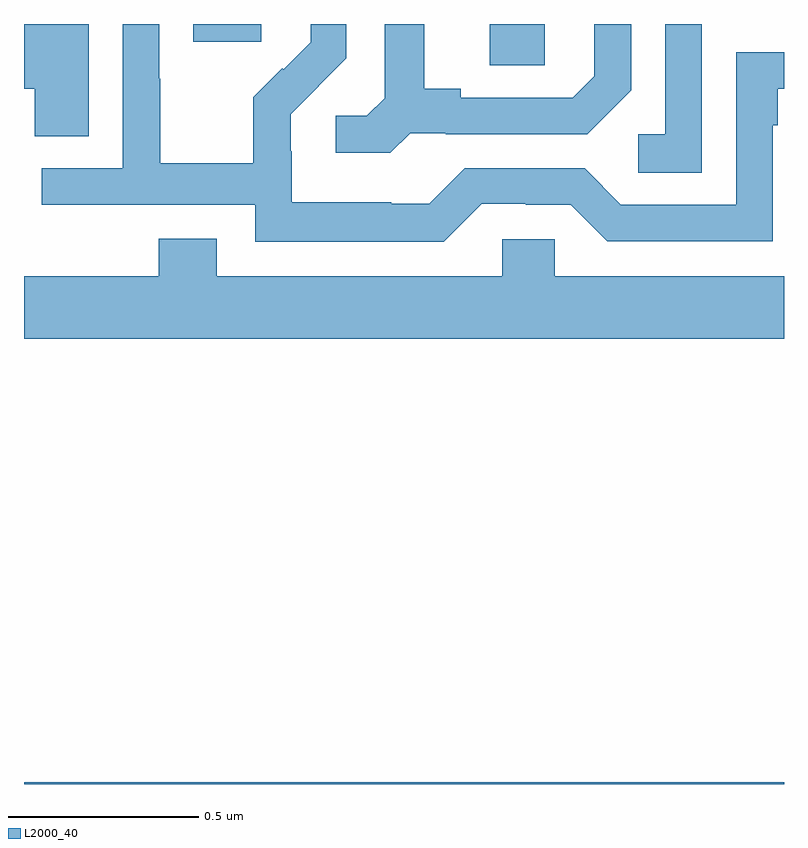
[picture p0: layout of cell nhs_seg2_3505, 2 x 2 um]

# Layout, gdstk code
import gdstk
lib = gdstk.Library(unit=1e-6, precision=1e-09)
def R(c, l, rs):  # rectangles x0, y0, x1, y1
    for r in rs: c.add(gdstk.rectangle(r[:2], r[2:], *l))
def P(c, l, *ps):  # polygons
    for p in ps: c.add(gdstk.Polygon(p, *l))
L2000_40 = (2000, 40)

nhs_seg2_3505 = lib.new_cell('nhs_seg2_3505')
R(nhs_seg2_3505, L2000_40, [(154,643.8,156,643.804), (155.225,645.691,155.37,645.8), (154.445,645.753,154.624,645.8)])
P(nhs_seg2_3505, L2000_40, [(154.171,645.8),(154,645.8),(154,645.629),(154.028,645.629),(154.028,645.505),(154.171,645.505)],
  [(155.205,645.327),(155.321,645.327),(155.321,645.324),(155.439,645.324),(155.535,645.228),(155.97,645.228),(155.97,645.533),(155.983,645.533),(155.983,645.63),(156,645.63),(156,645.726),(155.874,645.726),(155.874,645.324),(155.571,645.324),(155.475,645.42),(155.16,645.42),(155.067,645.327),(154.967,645.327),(154.967,645.331),(154.704,645.331),(154.704,645.465),(154.702,645.465),(154.702,645.562),(154.776,645.636),(154.775,645.637),(154.848,645.71),(154.848,645.8),(154.754,645.8),(154.754,645.752),(154.683,645.681),(154.68,645.684),(154.603,645.607),(154.603,645.433),(154.359,645.433),(154.359,645.656),(154.356,645.656),(154.356,645.8),(154.26,645.8),(154.26,645.42),(154.047,645.42),(154.047,645.324),(154.608,645.324),(154.608,645.227),(155.105,645.227)],
  [(155.784,645.8),(155.688,645.8),(155.688,645.51),(155.616,645.51),(155.616,645.409),(155.784,645.409)],
  [(155.016,645.513),(155.11,645.513),(155.11,645.51),(155.482,645.51),(155.598,645.626),(155.598,645.8),(155.501,645.8),(155.501,645.663),(155.444,645.606),(155.149,645.606),(155.149,645.629),(155.053,645.629),(155.053,645.8),(154.949,645.8),(154.949,645.605),(154.902,645.558),(154.821,645.558),(154.821,645.461),(154.964,645.461)],
  [(156,645.136),(155.397,645.136),(155.397,645.234),(155.259,645.234),(155.259,645.136),(154.507,645.136),(154.507,645.235),(154.355,645.235),(154.355,645.136),(154,645.136),(154,644.972),(156,644.972)])

lib.write_gds('nhs_seg2_3505.gds')
